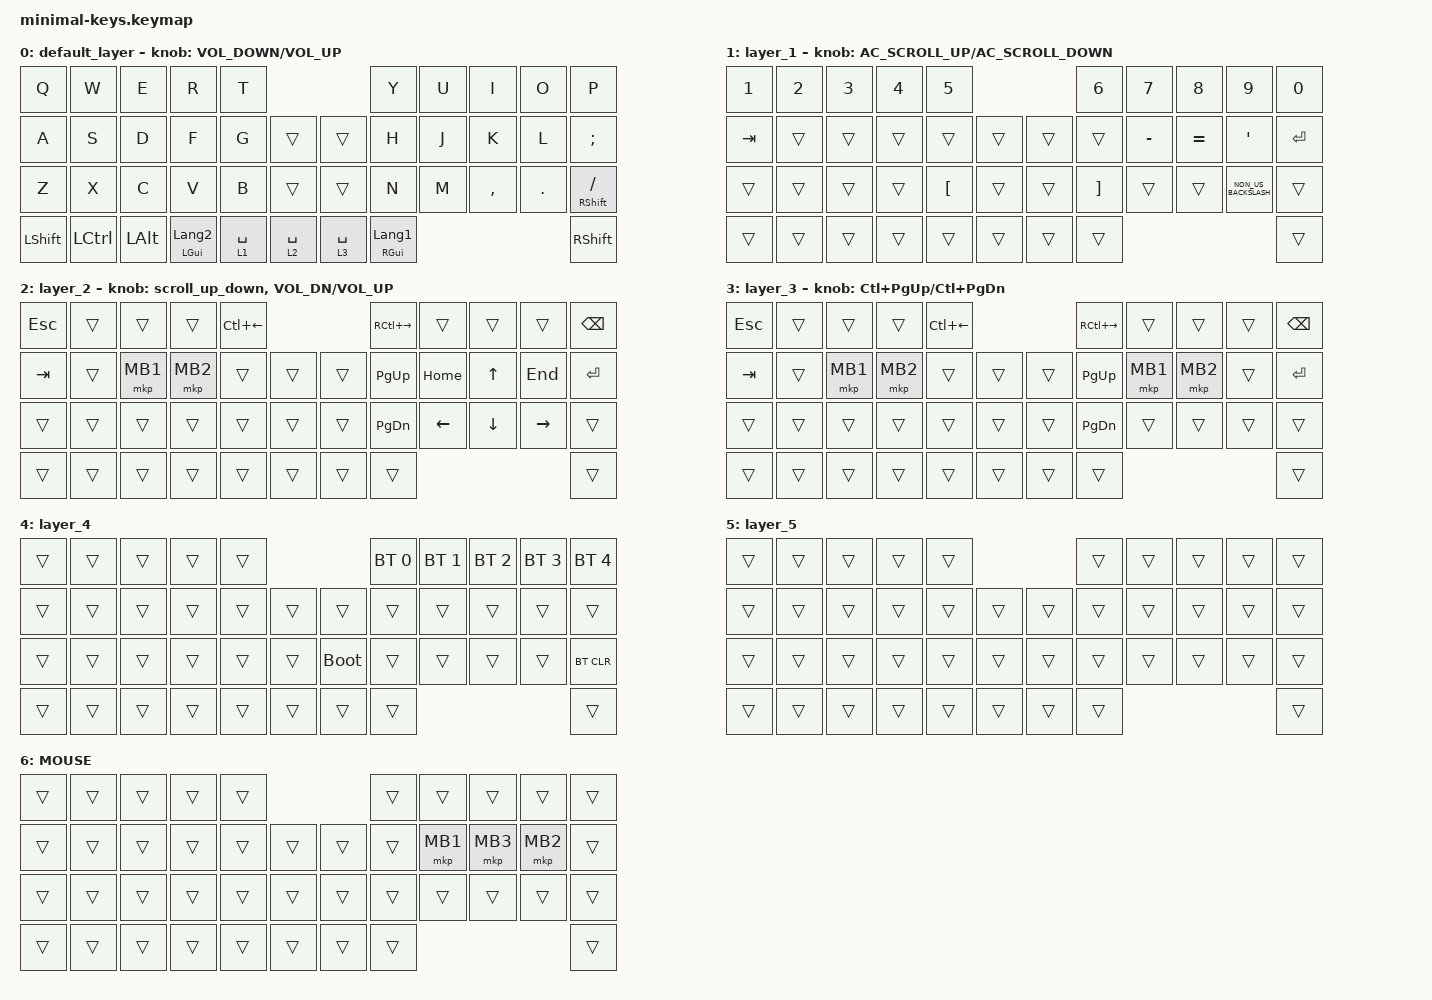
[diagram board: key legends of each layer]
#include <behaviors.dtsi>
#include <dt-bindings/zmk/bt.h>
#include <dt-bindings/zmk/keys.h>
#include <dt-bindings/zmk/pointing.h>

#undef ZMK_POINTING_DEFAULT_SCRL_VAL

#define ZMK_POINTING_DEFAULT_SCRL_VAL 100
#define MOUSE 6

&mt {
    flavor = "balanced";
    quick-tap-ms = <0>;
};

/ {
    combos { compatible = "zmk,combos"; };

    macros {
        to_layer_0: to_layer_0 {
            compatible = "zmk,behavior-macro-one-param";
            #binding-cells = <1>;
            bindings = <&to 0 &macro_param_1to1 &kp MACRO_PLACEHOLDER>;
            label = "TO_LAYER_0";
        };
    };

    behaviors {
        lt_to_layer_0: lt_to_layer_0 {
            compatible = "zmk,behavior-hold-tap";
            label = "LAYER_TAP_TO_0";
            bindings = <&mo>, <&to_layer_0>;

            #binding-cells = <2>;
            tapping-term-ms = <200>;
        };

        scroll_up_down: behavior_sensor_rotate_mouse_wheel_up_down {
            compatible = "zmk,behavior-sensor-rotate";
            #sensor-binding-cells = <0>;
            bindings = <&msc SCRL_UP>, <&msc SCRL_DOWN>;

            tap-ms = <20>;
        };

        scroll: scroll {
            compatible = "zmk,behavior-sensor-rotate";
            label = "SCROLL";
            #sensor-binding-cells = <0>;
            bindings = <&msc SCRL_DOWN>, <&msc SCRL_UP>;
        };
    };

    keymap {
        compatible = "zmk,keymap";

        default_layer {
            bindings = <
&kp Q           &kp W             &kp E         &kp R                    &kp T                                    &kp Y                     &kp U  &kp I      &kp O    &kp P
&kp A           &kp S             &kp D         &kp F                    &kp G        &trans         &trans       &kp H                     &kp J  &kp K      &kp L    &kp SEMICOLON
&kp Z           &kp X             &kp C         &kp V                    &kp B        &trans         &trans       &kp N                     &kp M  &kp COMMA  &kp DOT  &mt RIGHT_SHIFT SLASH
&kp LEFT_SHIFT  &kp LEFT_CONTROL  &kp LEFT_ALT  &mt LEFT_GUI LANGUAGE_2  &lt 1 SPACE  &lt 2 SPACE    &lt 3 SPACE  &mt RIGHT_GUI LANGUAGE_1                             &kp RIGHT_SHIFT
            >;

            sensor-bindings = <&inc_dec_kp C_VOLUME_DOWN C_VOLUME_UP>;
        };

        layer_1 {
            bindings = <
&kp NUMBER_1  &kp NUMBER_2  &kp NUMBER_3  &kp NUMBER_4  &kp NUMBER_5                    &kp NUMBER_6  &kp NUMBER_7  &kp NUMBER_8  &kp NUMBER_9          &kp NUMBER_0
&kp TAB       &trans        &trans        &trans        &trans        &trans    &trans  &trans        &kp MINUS     &kp EQUAL     &kp SQT               &kp ENTER
&trans        &trans        &trans        &trans        &kp LBKT      &trans    &trans  &kp RBKT      &trans        &trans        &kp NON_US_BACKSLASH  &trans
&trans        &trans        &trans        &trans        &trans        &trans    &trans  &trans                                                          &trans
            >;

            sensor-bindings = <&inc_dec_kp C_AC_SCROLL_UP C_AC_SCROLL_DOWN>;
        };

        layer_2 {
            bindings = <
&kp ESCAPE  &trans  &trans    &trans    &kp LC(LEFT_ARROW)                    &kp RC(RIGHT_ARROW)  &trans          &trans          &trans           &kp BACKSPACE
&kp TAB     &trans  &mkp MB1  &mkp MB2  &trans              &trans    &trans  &kp PAGE_UP          &kp HOME        &kp UP_ARROW    &kp END          &kp ENTER
&trans      &trans  &trans    &trans    &trans              &trans    &trans  &kp PAGE_DOWN        &kp LEFT_ARROW  &kp DOWN_ARROW  &kp RIGHT_ARROW  &trans
&trans      &trans  &trans    &trans    &trans              &trans    &trans  &trans                                                                &trans
            >;

            sensor-bindings =
                <&scroll_up_down>,
                <&inc_dec_kp C_VOL_DN C_VOL_UP>;
        };

        layer_3 {
            bindings = <
&kp ESCAPE  &trans  &trans    &trans    &kp LC(LEFT_ARROW)                    &kp RC(RIGHT_ARROW)  &trans    &trans    &trans  &kp BACKSPACE
&kp TAB     &trans  &mkp MB1  &mkp MB2  &trans              &trans    &trans  &kp PAGE_UP          &mkp MB1  &mkp MB2  &trans  &kp ENTER
&trans      &trans  &trans    &trans    &trans              &trans    &trans  &kp PAGE_DOWN        &trans    &trans    &trans  &trans
&trans      &trans  &trans    &trans    &trans              &trans    &trans  &trans                                           &trans
            >;

            sensor-bindings = <&inc_dec_kp LC(PAGE_UP) LC(PAGE_DOWN)>;
        };

        layer_4 {
            bindings = <
&trans  &trans  &trans  &trans  &trans                         &bt BT_SEL 0  &bt BT_SEL 1  &bt BT_SEL 2  &bt BT_SEL 3  &bt BT_SEL 4
&trans  &trans  &trans  &trans  &trans  &trans    &trans       &trans        &trans        &trans        &trans        &trans
&trans  &trans  &trans  &trans  &trans  &trans    &bootloader  &trans        &trans        &trans        &trans        &bt BT_CLR
&trans  &trans  &trans  &trans  &trans  &trans    &trans       &trans                                                  &trans
            >;
        };

        layer_5 {
            bindings = <
&trans  &trans  &trans  &trans  &trans                    &trans  &trans  &trans  &trans  &trans
&trans  &trans  &trans  &trans  &trans  &trans    &trans  &trans  &trans  &trans  &trans  &trans
&trans  &trans  &trans  &trans  &trans  &trans    &trans  &trans  &trans  &trans  &trans  &trans
&trans  &trans  &trans  &trans  &trans  &trans    &trans  &trans                          &trans
            >;
        };

        MOUSE {
            bindings = <
&trans  &trans  &trans  &trans  &trans                    &trans  &trans    &trans    &trans    &trans
&trans  &trans  &trans  &trans  &trans  &trans    &trans  &trans  &mkp MB1  &mkp MB3  &mkp MB2  &trans
&trans  &trans  &trans  &trans  &trans  &trans    &trans  &trans  &trans    &trans    &trans    &trans
&trans  &trans  &trans  &trans  &trans  &trans    &trans  &trans                                &trans
            >;
        };
    };
};
